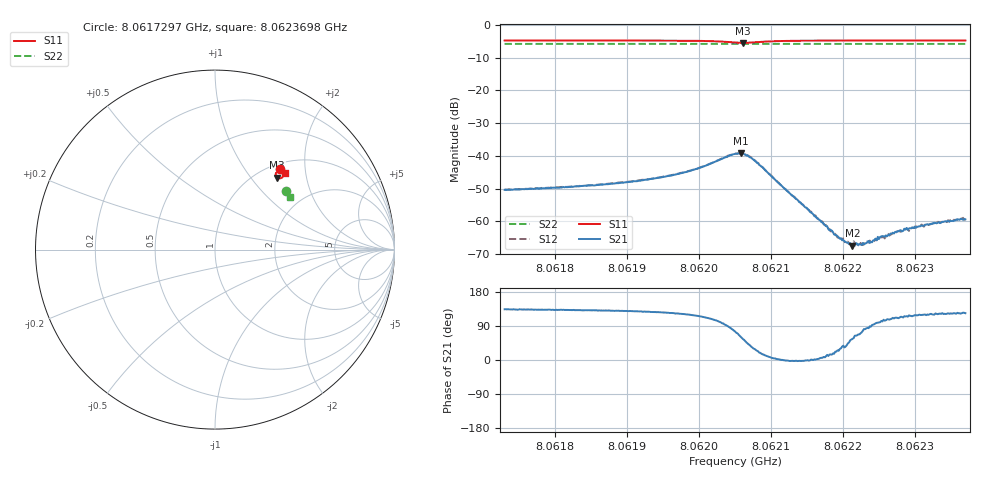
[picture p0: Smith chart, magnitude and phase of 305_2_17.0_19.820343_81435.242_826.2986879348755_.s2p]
#  HZ  S  RI  R  50.00
! Rohde & Schwarz Vector Network Analyzer
! Rohde-Schwarz,ZNB20-2Port,1311601062101988,3.16
! Created: UTC 3/20/2024, 11:05:46 PM
! freq[Hz]  re:S11  im:S11  re:S21  im:S21  re:S12  im:S12  re:S22  im:S22
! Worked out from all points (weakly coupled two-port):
!   401 points, 8.0617297 GHz to 8.0623698 GHz, reference 50 ohm
!   highest |S21| = -39.25 dB at 8.0620577 GHz (marker M1); lowest = -67.5 dB at 8.062213 GHz (marker M2)
!   lowest |S11| = -5.5 dB at 8.0620609 GHz (marker M3), VSWR 3.25, Z = 61.1 + j68.2 ohm
!   |S11| at or under -10 dB: nowhere
!   |S22| runs from -5.9 to -5.8 dB; largest |S21 - S12| = 0.00086
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8.06172969e9  0.3601 0.4494  -0.0021 0.00218  -0.00201 0.00228  0.3929 0.3267
8.0618369e9  0.3674 0.4431  -0.00229 0.0026  -0.0021 0.00276  0.3972 0.3214
8.06190411e9  0.3727 0.4379  -0.00254 0.00311  -0.00234 0.0033  0.3995 0.3181
8.06194412e9  0.376 0.4335  -0.00272 0.00373  -0.00251 0.00395  0.401 0.3159
8.06199533e9  0.3805 0.423  -0.00285 0.00562  -0.00254 0.00581  0.4029 0.3129
8.06204973e9  0.3611 0.3965  0.0027 0.0103  0.00338 0.0103  0.4035 0.3096
8.06205774e9  0.3501 0.3986  0.00527 0.00955  0.00588 0.0092  0.4033 0.3093
8.06206094e9  0.3462 0.4012  0.00611 0.00877  0.00668 0.00854  0.4033 0.3094
8.06207054e9  0.3387 0.4126  0.00741 0.00591  0.00797 0.00556  0.4035 0.3095
8.06208174e9  0.3396 0.4259  0.00707 0.003  0.00742 0.00244  0.4041 0.3097
8.06211534e9  0.3563 0.4392  0.00342 1.65e-05  0.00342 -0.000218  0.4062 0.3084
8.06215695e9  0.3679 0.4385  0.00133 1.17e-05  0.00135 -4.84e-05  0.4081 0.3063
8.06219375e9  0.3735 0.436  0.000517 0.000236  0.000529 0.000191  0.4097 0.3043
8.06220656e9  0.3751 0.4353  0.000339 0.000326  0.000371 0.000321  0.41 0.3036
8.06221296e9  0.3759 0.4348  0.000238 0.000351  0.000288 0.00034  0.4103 0.3033
8.06222416e9  0.377 0.4342  0.000147 0.000417  0.000181 0.000433  0.4108 0.3027
8.06224016e9  0.3786 0.433  -1.81e-05 0.00048  4.98e-06 0.000494  0.4114 0.3018
8.06225136e9  0.3796 0.4324  -9.77e-05 0.000569  -7.48e-05 0.000569  0.4117 0.3013
8.06226416e9  0.3808 0.4315  -0.000176 0.000596  -0.000152 0.000588  0.4121 0.3006
8.06228497e9  0.3824 0.4304  -0.000332 0.000698  -0.000238 0.000712  0.4129 0.2996
8.06231697e9  0.3847 0.4286  -0.000454 0.00078  -0.00037 0.000817  0.4142 0.298
8.06236978e9  0.3883 0.4256  -0.000592 0.000893  -0.000547 0.000936  0.416 0.2952
